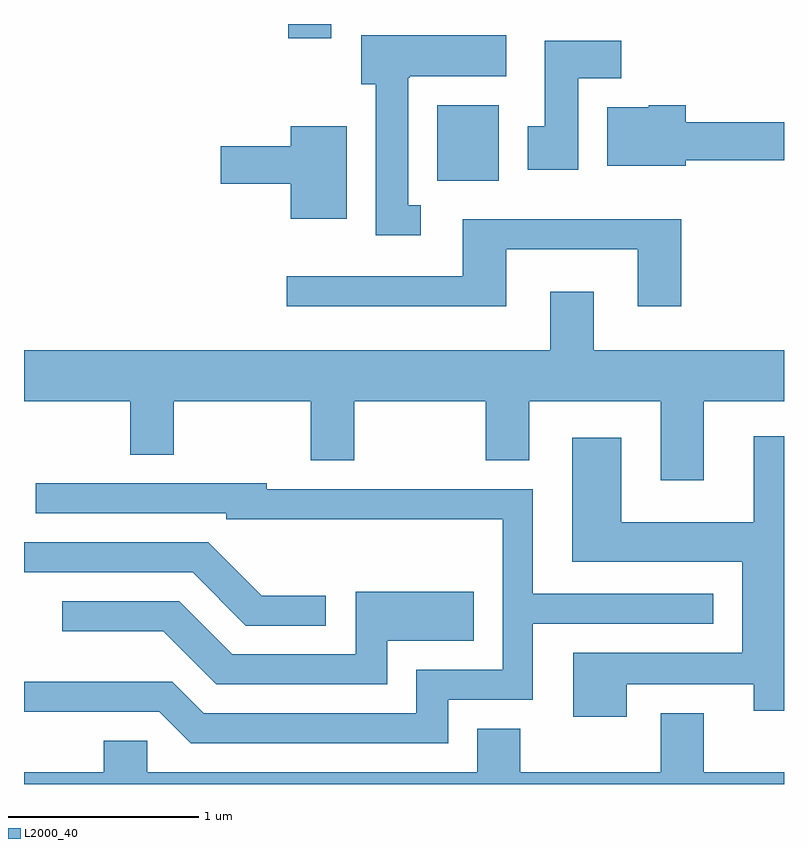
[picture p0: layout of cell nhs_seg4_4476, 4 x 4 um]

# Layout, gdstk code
import gdstk
lib = gdstk.Library(unit=1e-6, precision=1e-09)
def R(c, l, rs):  # rectangles x0, y0, x1, y1
    for r in rs: c.add(gdstk.rectangle(r[:2], r[2:], *l))
def P(c, l, *ps):  # polygons
    for p in ps: c.add(gdstk.Polygon(p, *l))
L2000_40 = (2000, 40)

nhs_seg4_4476 = lib.new_cell('nhs_seg4_4476')
R(nhs_seg4_4476, L2000_40, [(317.786,1369.156,318.109,1369.554), (317.001,1369.906,317.229,1369.982)])
P(nhs_seg4_4476, L2000_40, [(317.698,1369.029),(317.634,1369.029),(317.634,1369.7),(317.64,1369.7),(317.64,1369.706),(318.149,1369.706),(318.149,1369.924),(317.386,1369.924),(317.386,1369.666),(317.461,1369.666),(317.461,1368.871),(317.698,1368.871)],
  [(318.529,1369.696),(318.754,1369.696),(318.754,1369.894),(318.351,1369.894),(318.351,1369.444),(318.261,1369.444),(318.261,1369.216),(318.529,1369.216)],
  [(319.094,1369.266),(319.611,1369.266),(319.611,1369.464),(319.094,1369.464),(319.094,1369.554),(318.9,1369.554),(318.9,1369.544),(318.681,1369.544),(318.681,1369.236),(319.094,1369.236)],
  [(317.309,1369.444),(317.016,1369.444),(317.016,1369.339),(316.646,1369.339),(316.646,1369.141),(317.016,1369.141),(317.016,1368.956),(317.309,1368.956)],
  [(318.149,1368.796),(318.841,1368.796),(318.841,1368.496),(319.069,1368.496),(319.069,1368.954),(317.921,1368.954),(317.921,1368.654),(316.993,1368.654),(316.993,1368.496),(318.149,1368.496)],
  [(319.189,1367.996),(319.611,1367.996),(319.611,1368.264),(318.609,1368.264),(318.609,1368.574),(318.381,1368.574),(318.381,1368.264),(315.611,1368.264),(315.611,1367.996),(316.171,1367.996),(316.171,1367.716),(316.399,1367.716),(316.399,1367.996),(317.121,1367.996),(317.121,1367.686),(317.349,1367.686),(317.349,1367.996),(318.041,1367.996),(318.041,1367.686),(318.269,1367.686),(318.269,1367.996),(318.961,1367.996),(318.961,1367.581),(319.189,1367.581)],
  [(318.784,1366.506),(319.451,1366.506),(319.451,1366.368),(319.611,1366.368),(319.611,1367.813),(319.451,1367.813),(319.451,1367.359),(318.754,1367.359),(318.754,1367.804),(318.496,1367.804),(318.496,1367.151),(319.391,1367.151),(319.391,1366.674),(318.501,1366.674),(318.501,1366.336),(318.784,1366.336)],
  [(317.844,1366.426),(318.289,1366.426),(318.289,1366.826),(319.238,1366.826),(319.238,1366.984),(318.289,1366.984),(318.289,1367.534),(316.889,1367.534),(316.889,1367.564),(315.673,1367.564),(315.673,1367.406),(316.676,1367.406),(316.676,1367.376),(318.131,1367.376),(318.131,1366.584),(317.676,1366.584),(317.676,1366.354),(316.557,1366.354),(316.392,1366.519),(315.611,1366.519),(315.611,1366.361),(316.324,1366.361),(316.489,1366.196),(317.844,1366.196)],
  [(317.198,1366.974),(316.862,1366.974),(316.582,1367.254),(315.611,1367.254),(315.611,1367.096),(316.499,1367.096),(316.779,1366.816),(317.198,1366.816)],
  [(317.524,1366.736),(317.979,1366.736),(317.979,1366.994),(317.356,1366.994),(317.356,1366.664),(316.707,1366.664),(316.427,1366.944),(315.813,1366.944),(315.813,1366.786),(316.344,1366.786),(316.624,1366.506),(317.524,1366.506)],
  [(319.611,1366.044),(319.189,1366.044),(319.189,1366.354),(318.961,1366.354),(318.961,1366.044),(318.224,1366.044),(318.224,1366.274),(317.996,1366.274),(317.996,1366.044),(316.259,1366.044),(316.259,1366.209),(316.031,1366.209),(316.031,1366.044),(315.611,1366.044),(315.611,1365.982),(319.611,1365.982)])

lib.write_gds('nhs_seg4_4476.gds')
